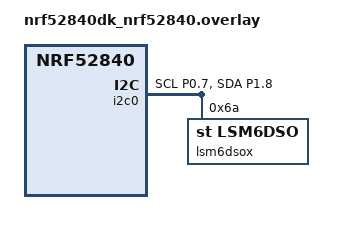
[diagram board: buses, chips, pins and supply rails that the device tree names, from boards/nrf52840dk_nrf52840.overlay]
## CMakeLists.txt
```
# SPDX-License-Identifier: Apache-2.0

cmake_minimum_required(VERSION 3.20.0)
find_package(Zephyr REQUIRED HINTS $ENV{ZEPHYR_BASE})
project(peripheral_hids_1)

FILE(GLOB app_sources src/*.c)
target_sources(app PRIVATE
  ${app_sources}
  )
```

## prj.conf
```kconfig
# Increased stack due to settings API usage
CONFIG_SYSTEM_WORKQUEUE_STACK_SIZE=2048

CONFIG_BT=y
CONFIG_LOG=y
CONFIG_BT_PERIPHERAL=y
CONFIG_BT_SMP=y
CONFIG_BT_DIS=y
CONFIG_BT_BAS=y
CONFIG_BT_DEVICE_NAME_DYNAMIC=y
CONFIG_BT_DEVICE_APPEARANCE=961

CONFIG_BT_SETTINGS=y
CONFIG_FLASH=y
CONFIG_FLASH_MAP=y
CONFIG_NVS=y
CONFIG_SETTINGS=y

CONFIG_GPIO=y

CONFIG_CLOCK_CONTROL_NRF_K32SRC_XTAL=n
CONFIG_CLOCK_CONTROL_NRF_K32SRC_RC=y

# analog input
CONFIG_ADC=y
CONFIG_ADC_NRFX_SAADC=y

CONFIG_BT_HIDS=y

CONFIG_BT_BONDABLE=y
CONFIG_BT_KEYS_OVERWRITE_OLDEST=y

# Later for UART logging
CONFIG_USE_SEGGER_RTT=y
CONFIG_LOG_BACKEND_RTT=y
CONFIG_LOG_BACKEND_UART=n
CONFIG_PRINTK=y

# Dataset capture streams ~125 VLOG lines/s over RTT. The stock buffers drop
# messages at that rate, which would silently punch holes in the dataset.
CONFIG_LOG_BUFFER_SIZE=8192
CONFIG_SEGGER_RTT_BUFFER_SIZE_UP=8192

# Nordic UART Service - live voltage stream to the nRF Connect UART console
CONFIG_BT_NUS=y

# Optional: raise the ATT MTU if you want lines longer than 20 bytes.
# CONFIG_BT_L2CAP_TX_MTU=247
# CONFIG_BT_BUF_ACL_RX_SIZE=251
# CONFIG_BT_BUF_ACL_TX_SIZE=251

CONFIG_I2C=y
CONFIG_SENSOR=y
CONFIG_LSM6DSO=y
CONFIG_LSM6DSO_TRIGGER_NONE=y
```

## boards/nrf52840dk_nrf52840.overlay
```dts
&pinctrl {
    i2c0_default: i2c0_default {
        group1 {
            psels = <NRF_PSEL(TWIM_SCL, 0, 7)>,
                    <NRF_PSEL(TWIM_SDA, 1, 8)>;
        };
    };

    i2c0_sleep: i2c0_sleep {
        group1 {
            psels = <NRF_PSEL(TWIM_SCL, 0, 7)>,
                    <NRF_PSEL(TWIM_SDA, 1, 8)>;
            low-power-enable;
        };
    };
};

&i2c0 {
    status = "okay";
    compatible = "nordic,nrf-twim";
    pinctrl-0 = <&i2c0_default>;
    pinctrl-1 = <&i2c0_sleep>;
    pinctrl-names = "default", "sleep";

    lsm6dsox: lsm6dsox@6a {
        compatible = "st,lsm6dso";
        reg = <0x6a>;
    };
};
```

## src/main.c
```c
/* main.c - Circle Rx application main entry point */

#include <zephyr/types.h>
#include <stddef.h>
#include <string.h>
#include <errno.h>
#include <stdio.h>
#include <stdbool.h>

#include <zephyr/kernel.h>
#include <zephyr/sys/printk.h>
#include <zephyr/sys/byteorder.h>
#include <zephyr/settings/settings.h>

#include <zephyr/device.h>
#include <zephyr/drivers/gpio.h>
#include <zephyr/drivers/adc.h>
#include <zephyr/drivers/sensor.h>

#include <zephyr/bluetooth/bluetooth.h>
#include <zephyr/bluetooth/hci.h>
#include <zephyr/bluetooth/conn.h>
#include <zephyr/bluetooth/uuid.h>
#include <zephyr/bluetooth/gatt.h>

#include <hal/nrf_saadc.h>

/* NCS Nordic UART Service - shows up as the UART console in nRF Connect. */
#include <bluetooth/services/nus.h>

#include "hog.h"

#define DEVICE_SIDE    1
#define DEVICE_NUMBER  1

#define DEVICE_SIDE_LEFT   0
#define DEVICE_SIDE_RIGHT  1

#define GPIO1_NODE DT_NODELABEL(gpio1)

/* LED_A / LED_B / LED_C on the Circle board (Rev 2 status sequence):
 *
 *   1. Searching for Bluetooth   yellow LED flashing, others off
 *   2. Buffer before calibration all three cycling (chase)
 *   3. Calibration in progress   all three blinking together
 *   4. Calibration complete      all three steady on
 */
#define LED_A_PIN 11  /* P1.11 */
#define LED_B_PIN 13  /* P1.13 */
#define LED_C_PIN 15  /* P1.15 */

/* Which pin carries the yellow LED, used alone for state 1. */
#define LED_YELLOW_PIN LED_A_PIN

#define SAMPLE_PERIOD_MS     8
#define LED_BLINK_PERIOD_MS  300  /* states 1 and 3 */
#define LED_CHASE_PERIOD_MS  150  /* state 2, per step - 450 ms per full cycle */

#define ADC_NODE        DT_NODELABEL(adc)
#define ADC_CHANNEL_ID  1  /* P0.03 / AIN1 = VLOG */
#define ADC_RESOLUTION  12   /* 0.88 mV/LSB, vs 3.5 mV at 10-bit */

#define IMU_NODE DT_NODELABEL(lsm6dsox)

/* SAADC scaling: gain 1/6 against the internal 0.6 V reference gives a
 * 0 .. 3.6 V input range.
 *
 * Per the nRF52840 Product Specification the conversion is
 *   RESULT = (V(P) - V(N)) * (GAIN / REFERENCE) * 2^RESOLUTION
 * so full scale maps to 2^RESOLUTION counts - the divisor is 4096, NOT 4095.
 * Identical to raw_adc_to_mv() in hog.c so both agree exactly.
 */
#define ADC_FULL_SCALE_MV 3600
#define ADC_MAX_COUNTS    (1 << ADC_RESOLUTION)

/* ---------------- Rev2 / Rev3 comparison instrumentation ----------------
 *
 * TWO capture paths, and they are NOT equivalent measurements:
 *
 *   BLE (nus_stream_sample)  battery powered, floating ground. This is the
 *                            representative condition and the primary dataset.
 *   RTT (VLOG_RTT_STREAM)    requires J-Link attached, which ties board ground
 *                            to the PC and hence to mains earth. In a
 *                            body-coupled system the body-to-earth return path
 *                            IS the signal path, so the probe changes the
 *                            measurement. Use for debugging, and for
 *                            quantifying the grounding effect by capturing
 *                            both ways - not as the sole dataset.
 *
 * RTT line format:  VLOG,<uptime_ms>,<raw_counts>
 *
 * Raw counts, not millivolts: conversion is lossy and belongs in analysis,
 * where it can use a per-board calibration factor.
 */
#define VLOG_RTT_STREAM 1


static const struct device *adc_dev = DEVICE_DT_GET(ADC_NODE);
static const struct device *gpio1_dev = DEVICE_DT_GET(GPIO1_NODE);
static const struct device *imu_dev = DEVICE_DT_GET(IMU_NODE);

int16_t adc_buffer;

bool is_right_board = false;
bool is_connected = false;

struct bt_conn *current_conn = NULL;

static char device_name[32];
static bool imu_ready = false;

static struct adc_channel_cfg channel_cfg = {
    .gain             = ADC_GAIN_1_6,
    .reference        = ADC_REF_INTERNAL,
    /* DEFAULT is 10 us, which the SAADC spec rates for a source resistance
     * up to 100 kOhm. If VLOG is not buffered by an op-amp, raise this to
     * ADC_ACQ_TIME(ADC_ACQ_TIME_MICROSECONDS, 40) -> 800 kOhm, otherwise the
     * sample-and-hold under-reads by an amount that varies with contact
     * impedance.
     */
    .acquisition_time = ADC_ACQ_TIME_DEFAULT,
    .channel_id       = ADC_CHANNEL_ID,
    .input_positive   = NRF_SAADC_INPUT_AIN1, /* P0.03 / AIN1 = VLOG */
};

static struct adc_sequence sequence = {
    .channels     = BIT(ADC_CHANNEL_ID),
    .buffer       = &adc_buffer,
    .buffer_size  = sizeof(adc_buffer),
    .resolution   = ADC_RESOLUTION,

    /* Zephyr oversampling is an EXPONENT: each sample is averaged from
     * 2^oversampling conversions. 4 -> 16x (previous), 6 -> 64x, which halves
     * random noise. At ~12 us per conversion that is ~0.8 ms per sample, well
     * inside the 8 ms period. The SAADC hardware maximum is 8 (256x); if you
     * also raise acquisition_time to 40 us, 6 costs ~2.7 ms - still fits, but
     * do not go higher without rechecking the timing budget.
     */
    .oversampling = 6,
};

static const struct bt_data ad[] = {
    BT_DATA_BYTES(BT_DATA_FLAGS, BT_LE_AD_GENERAL | BT_LE_AD_NO_BREDR),

    BT_DATA_BYTES(BT_DATA_UUID16_ALL,
        BT_UUID_16_ENCODE(BT_UUID_HIDS_VAL),
        BT_UUID_16_ENCODE(BT_UUID_BAS_VAL)),
};

/* ------------------------------------------------------------------ */
/* Nordic UART Service (BLE "UART" console in the nRF Connect app)      */
/* ------------------------------------------------------------------ */

/* True once the phone subscribes to NUS TX. Not static: hog.c uses it so the
 * touch detector also runs for a console-only (non-HID) subscriber.
 */
bool nus_ready;

/* Last detector state announced over NUS; 0xFF forces a re-send. */
uint8_t nus_last_state = 0xFFU;

static int32_t raw_adc_to_mv(int16_t raw)
{
    if (raw < 0) {
        raw = 0;
    }

    return ((int32_t)raw * ADC_FULL_SCALE_MV + (ADC_MAX_COUNTS / 2)) /
           ADC_MAX_COUNTS;
}

/* 8-byte reply to TEST. Distinct length from the 6/13/18-byte packets, which
 * is how the host tells the four packet types apart.
 *   [0..3] uint32 uptime_ms
 *   [4]    0x54 'T'
 *   [5]    side: 0 = left, 1 = right
 *   [6]    1 while the touch key is pressed
 *   [7]    detector state: 0 waiting, 1 calibrating, 2 ready
 */
#define NUS_TAG_TEST  0x54

static uint8_t detector_state_code(void)
{
    if (hog_threshold_is_locked()) {
        return 2U;
    }
    if (hog_is_collecting_calibration()) {
        return 1U;
    }
    return 0U;
}

static void nus_send_test_reply(void)
{
    if (!nus_ready || current_conn == NULL) {
        return;
    }

    uint8_t pkt[8];

    sys_put_le32((uint32_t)k_uptime_get(), &pkt[0]);
    pkt[4] = NUS_TAG_TEST;
    pkt[5] = is_right_board ? 1U : 0U;
    pkt[6] = hog_key_is_pressed() ? 1U : 0U;
    pkt[7] = detector_state_code();

    (void)bt_nus_send(current_conn, pkt, sizeof(pkt));
}

/* Commands from the host, as plain text so they can also be typed into the
 * nRF Connect app's UART console while debugging:
 *
 *   RECAL  restart calibration without dropping the HID link
 *   TEST   reply with side / key / detector state
 */
static void nus_received(struct bt_conn *conn,
                         const uint8_t *const data, uint16_t len)
{
    ARG_UNUSED(conn);

    char cmd[16];
    uint16_t n = 0;

    /* Copy out the printable prefix, upper-cased, stopping at CR/LF so a
     * terminal that appends a newline still matches.
     */
    for (uint16_t i = 0; i < len && n < (sizeof(cmd) - 1U); i++) {
        char c = (char)data[i];

        if (c == '\r' || c == '\n') {
            break;
        }
        if (c >= 'a' && c <= 'z') {
            c = (char)(c - 'a' + 'A');
        }
        cmd[n++] = c;
    }
    cmd[n] = '\0';

    if (strcmp(cmd, "RECAL") == 0) {
        printk("NUS cmd: RECAL - restarting calibration\n");

        hog_force_recalibrate();

        /* Force the main loop to re-announce, so the host sees the state
         * fall back to 0 rather than keeping the stale 2.
         */
        nus_last_state = 0xFFU;

        nus_send_test_reply();
        return;
    }

    if (strcmp(cmd, "TEST") == 0) {
        printk("NUS cmd: TEST\n");
        nus_send_test_reply();
        return;
    }

    printk("NUS rx (%u bytes), unknown command: %s\n", len, cmd);
}

static void nus_send_enabled(enum bt_nus_send_status status)
{
    nus_ready = (status == BT_NUS_SEND_STATUS_ENABLED);
    printk("NUS notifications %s\n", nus_ready ? "enabled" : "disabled");

    /* Force the loop to re-announce detector state to the new subscriber. */
    extern uint8_t nus_last_state;
    nus_last_state = 0xFFU;
}

static struct bt_nus_cb nus_cb = {
    .received     = nus_received,
    .send_enabled = nus_send_enabled,
};

/* Batched binary stream: 6 samples per notification, 18 bytes, which fits the
 * default 20-byte ATT payload with no MTU negotiation required. 125 Hz / 6 =
 * ~21 packets/s, comfortably inside what iOS grants at a 30 ms connection
 * interval - so the wireless capture runs at the FULL sample rate.
 *
 * This matters because RTT is not a neutral observer: the J-Link ties board
 * ground to the PC and therefore to mains earth, and in a body-coupled system
 * the body-to-earth return path IS the signal path. Battery-powered BLE is the
 * representative measurement condition; RTT is the perturbed one.
 *
 * Packet layout (little endian):
 *   [0..3] uint32 uptime_ms of the FIRST sample in the batch
 *   [4..5] uint16 packet sequence, wraps at 65536
 *   [6..]  6 x uint16 raw SAADC counts, spaced SAMPLE_PERIOD_MS apart
 */
#define NUS_BATCH_SAMPLES 6
#define NUS_PACKET_BYTES  (6 + 2 * NUS_BATCH_SAMPLES)

static void nus_stream_sample(int64_t now_ms, int16_t raw)
{
    static uint16_t batch[NUS_BATCH_SAMPLES];
    static uint8_t  batch_n;
    static uint32_t batch_t0;
    static uint16_t batch_seq;
    static uint32_t dropped;
    static int64_t  last_warn_ms;

    if (!nus_ready || current_conn == NULL) {
        batch_n = 0;
        return;
    }

    if (batch_n == 0) {
        batch_t0 = (uint32_t)now_ms;
    }

    batch[batch_n++] = (uint16_t)(raw < 0 ? 0 : raw);

    if (batch_n < NUS_BATCH_SAMPLES) {
        return;
    }

    uint8_t pkt[NUS_PACKET_BYTES];

    sys_put_le32(batch_t0, &pkt[0]);
    sys_put_le16(batch_seq++, &pkt[4]);
    for (uint8_t i = 0; i < NUS_BATCH_SAMPLES; i++) {
        sys_put_le16(batch[i], &pkt[6 + 2 * i]);
    }
    batch_n = 0;

    int err = bt_nus_send(current_conn, pkt, sizeof(pkt));
    if (err) {
        /* Count drops, report once a second. Printing every failure floods RTT
         * and stalls the loop, which corrupts the sample timing.
         */
        dropped++;
        if ((now_ms - last_warn_ms) >= 1000) {
            last_warn_ms = now_ms;
            printk("bt_nus_send: %u packets dropped in last 1s (err %d)\n",
                   dropped, err);
            dropped = 0;
        }
    }
}

/* Detector decisions over the same NUS stream, so a battery-powered capture
 * carries them without needing HID pairing on the host.
 *
 * 6 bytes, distinguishable from the 18-byte sample packet by length:
 *   [0..3] uint32 uptime_ms
 *   [4]    0x4B ('K')
 *   [5]    1 = key down, 0 = key up
 */
/* Detector state, so the host knows when calibration is finished instead of
 * relying on someone watching the LEDs:
 *   0 = waiting for the first rising spike
 *   1 = collecting calibration samples
 *   2 = threshold locked, detector armed
 */
#define NUS_TAG_KEY   0x4B
#define NUS_TAG_STATE 0x53

void nus_send_state(uint8_t state)
{
    if (!nus_ready || current_conn == NULL) {
        return;
    }

    /* 12 bytes. The thresholds only exist on the board, so they have to ride
     * along with the state or the host can never display them:
     *   [0..3]  uint32 uptime_ms
     *   [4]     0x53 'S'
     *   [5]     state
     *   [6..7]  int16 baseline mV      (0 until locked)
     *   [8..9]  int16 on-threshold mV
     *   [10..11] int16 off-threshold mV
     */
    uint8_t pkt[12];

    sys_put_le32((uint32_t)k_uptime_get(), &pkt[0]);
    pkt[4] = NUS_TAG_STATE;
    pkt[5] = state;
    sys_put_le16((uint16_t)(int16_t)hog_baseline_mv(), &pkt[6]);
    sys_put_le16((uint16_t)(int16_t)hog_on_threshold_mv(), &pkt[8]);
    sys_put_le16((uint16_t)(int16_t)hog_off_threshold_mv(), &pkt[10]);

    (void)bt_nus_send(current_conn, pkt, sizeof(pkt));
}

void nus_send_key_event(bool down)
{
    if (!nus_ready || current_conn == NULL) {
        return;
    }

    uint8_t pkt[6];

    sys_put_le32((uint32_t)k_uptime_get(), &pkt[0]);
    pkt[4] = NUS_TAG_KEY;
    pkt[5] = down ? 1U : 0U;

    (void)bt_nus_send(current_conn, pkt, sizeof(pkt));
}

static void build_device_name(void)
{
#if DEVICE_SIDE == DEVICE_SIDE_RIGHT
    is_right_board = true;
    snprintf(device_name, sizeof(device_name),
             "Circle Rx Right %d", DEVICE_NUMBER);
#else
    is_right_board = false;
    snprintf(device_name, sizeof(device_name),
             "Circle Rx Left %d", DEVICE_NUMBER);
#endif
}

static const uint8_t led_pins[] = { LED_A_PIN, LED_B_PIN, LED_C_PIN };

static void led_set(uint8_t pin, bool on)
{
    gpio_pin_set(gpio1_dev, pin, on ? 1 : 0);
}

/* All three together. */
static void cal_led_set(bool on)
{
    for (size_t i = 0; i < ARRAY_SIZE(led_pins); i++) {
        led_set(led_pins[i], on);
    }
}

/* Exactly one lit, the rest off - the chase in state 2. */
static void leds_chase_set(uint8_t active)
{
    for (size_t i = 0; i < ARRAY_SIZE(led_pins); i++) {
        led_set(led_pins[i], i == active);
    }
}

static int gpio_init(void)
{
    if (!device_is_ready(gpio1_dev)) {
        printk("GPIO1 not ready\n");
        return -ENODEV;
    }

    for (size_t i = 0; i < ARRAY_SIZE(led_pins); i++) {
        int err = gpio_pin_configure(gpio1_dev, led_pins[i],
                                     GPIO_OUTPUT_INACTIVE);
        if (err) {
            printk("Failed to configure LED on P1.%02u: %d\n",
                   led_pins[i], err);
            return err;
        }
    }

    cal_led_set(false);
    return 0;
}

static int adc_init(void)
{
    if (!device_is_ready(adc_dev)) {
        printk("ADC not ready\n");
        return -ENODEV;
    }

    int err = adc_channel_setup(adc_dev, &channel_cfg);
    if (err) {
        printk("adc_channel_setup failed: %d\n", err);
        return err;
    }

    /* Nordic recommends SAADC offset calibration before first use, and again
     * whenever ambient temperature moves more than 10 C. Do it once here
     * rather than on every read: calibration stalls the conversion, and at an
     * 8 ms sample period that would eat the timing budget.
     */
    struct adc_sequence cal_seq = sequence;

    cal_seq.calibrate = true;

    err = adc_read(adc_dev, &cal_seq);
    if (err) {
        /* Non-fatal on purpose: calibration only trims offset error. Losing
         * it costs a little accuracy; treating it as fatal would abort main()
         * and leave the board completely dead.
         */
        printk("SAADC offset calibration failed: %d (continuing)\n", err);
    } else {
        printk("SAADC calibrated (%u-bit, %ux oversampling)\n",
               ADC_RESOLUTION, 1U << sequence.oversampling);
    }

    return 0;
}

static int imu_init(void)
{
    if (!device_is_ready(imu_dev)) {
        printk("LSM6DSOX IMU not ready\n");
        imu_ready = false;
        return -ENODEV;
    }

    imu_ready = true;
    printk("LSM6DSOX IMU ready\n");
    return 0;
}

static void read_and_print_imu(void)
{
    if (!imu_ready) {
        return;
    }

    struct sensor_value accel[3];
    struct sensor_value gyro[3];

    int err = sensor_sample_fetch(imu_dev);
    if (err) {
        printk("IMU sample fetch failed: %d\n", err);
        return;
    }

    err = sensor_channel_get(imu_dev, SENSOR_CHAN_ACCEL_XYZ, accel);
    if (err) {
        printk("IMU accel read failed: %d\n", err);
        return;
    }

    err = sensor_channel_get(imu_dev, SENSOR_CHAN_GYRO_XYZ, gyro);
    if (err) {
        printk("IMU gyro read failed: %d\n", err);
        return;
    }

    printk("IMU_ACCEL,%d.%06d,%d.%06d,%d.%06d\n",
           accel[0].val1, accel[0].val2,
           accel[1].val1, accel[1].val2,
           accel[2].val1, accel[2].val2);

    printk("IMU_GYRO,%d.%06d,%d.%06d,%d.%06d\n",
           gyro[0].val1, gyro[0].val2,
           gyro[1].val1, gyro[1].val2,
           gyro[2].val1, gyro[2].val2);
}

static int start_advertising(void)
{
    int err = bt_le_adv_start(BT_LE_ADV_CONN_NAME,
                              ad, ARRAY_SIZE(ad),
                              NULL, 0);

    if (err) {
        printk("Advertising failed to start: %d\n", err);
        return err;
    }

    printk("Advertising started as %s\n", bt_get_name());
    return 0;
}

static void connected(struct bt_conn *conn, uint8_t err)
{
    if (err) {
        printk("Connection failed: %u\n", err);
        return;
    }

    current_conn = bt_conn_ref(conn);
    is_connected = true;

    /* Clear thresholds and filters so every session calibrates fresh. */
    hog_connected();

    bt_conn_set_security(conn, BT_SECURITY_L2);

    printk("Connected\n");
}

static void disconnected(struct bt_conn *conn, uint8_t reason)
{
    /* Before dropping current_conn: releases a held key and resets the
     * detector, so threshold_locked clears and the LEDs return to state 1.
     */
    hog_disconnected();

    if (current_conn) {
        bt_conn_unref(current_conn);
        current_conn = NULL;
    }

    is_connected = false;
    nus_ready = false;
    cal_led_set(false);

    printk("Disconnected, reason 0x%02x %s\n",
           reason, bt_hci_err_to_str(reason));
}

static void security_changed(struct bt_conn *conn,
                             bt_security_t level,
                             enum bt_security_err err)
{
    if (!err) {
        printk("Security changed: level %u\n", level);
    } else {
        printk("Security failed: level %u err %s(%d)\n",
               level, bt_security_err_to_str(err), err);
    }
}

BT_CONN_CB_DEFINE(conn_callbacks) = {
    .connected = connected,
    .disconnected = disconnected,
    .security_changed = security_changed,
};

static void bt_ready(int err)
{
    if (err) {
        printk("Bluetooth init failed: %d\n", err);
        return;
    }

    printk("Bluetooth initialized\n");

    hog_init();

    err = bt_nus_init(&nus_cb);
    if (err) {
        printk("NUS init failed: %d\n", err);
        return;
    }

    if (IS_ENABLED(CONFIG_SETTINGS)) {
        err = settings_load();
        if (err) {
            printk("Settings load failed: %d\n", err);
        }
    }

    err = bt_set_name(device_name);
    if (err) {
        printk("bt_set_name failed: %d\n", err);
        return;
    }

    start_advertising();
}

/*
 * Rev 2 status sequence. Called every loop iteration; owns all three LEDs.
 *
 *   1. !is_connected              yellow flashing, others off
 *   2. connected, not calibrating all three cycling
 *   3. collecting samples         all three blinking together
 *   4. threshold locked           all three steady on
 */
static void update_status_leds(int64_t now_ms)
{
    static int64_t last_step_ms;
    static bool    blink_on;
    static uint8_t chase_index;

    /* 4. Calibration complete - steady on, checked first so it latches. */
    if (hog_threshold_is_locked()) {
        cal_led_set(true);
        return;
    }

    /* 1. Searching for a Bluetooth connection. */
    if (!is_connected) {
        if ((now_ms - last_step_ms) >= LED_BLINK_PERIOD_MS) {
            last_step_ms = now_ms;
            blink_on = !blink_on;
        }

        led_set(LED_B_PIN, false);
        led_set(LED_C_PIN, false);
        led_set(LED_YELLOW_PIN, blink_on);

        chase_index = 0;
        return;
    }

    /* 3. Calibration in progress - all three blink together. */
    if (hog_is_collecting_calibration()) {
        if ((now_ms - last_step_ms) >= LED_BLINK_PERIOD_MS) {
            last_step_ms = now_ms;
            blink_on = !blink_on;
            cal_led_set(blink_on);
        }
        return;
    }

    /* 2. Buffer period before calibration - cycle through the three. */
    if ((now_ms - last_step_ms) >= LED_CHASE_PERIOD_MS) {
        last_step_ms = now_ms;
        leds_chase_set(chase_index);
        chase_index = (chase_index + 1) % ARRAY_SIZE(led_pins);
    }
}

int main(void)
{
    int err;

    build_device_name();

    printk("Starting %s\n", device_name);

    err = gpio_init();
    if (err) {
        return 0;
    }

    err = adc_init();
    if (err) {
        return 0;
    }

    err = imu_init();
    if (err) {
        printk("Continuing without IMU\n");
    }

    err = bt_enable(bt_ready);
    if (err) {
        printk("Bluetooth init failed immediately: %d\n", err);
        return 0;
    }

    while (1) {
        int64_t now_ms = k_uptime_get();

        if (!is_connected) {
            nus_ready = false;
            update_status_leds(now_ms);
            k_sleep(K_MSEC(SAMPLE_PERIOD_MS));
            continue;
        }

        err = adc_read(adc_dev, &sequence);
        if (!err) {
#if VLOG_RTT_STREAM
            /* One line per sample, before any filtering. */
            printk("VLOG,%u,%d\n", (uint32_t)now_ms, (int)adc_buffer);
#endif

            hog_button_loop();

            /* Independent of hog_button_loop(), which bails out unless
             * HID notifications are subscribed.
             */
            nus_stream_sample(now_ms, adc_buffer);
        } else {
            printk("ADC read failed: %d\n", err);
        }

        read_and_print_imu();

        update_status_leds(now_ms);

        /* Announce detector state transitions to the host. */
        uint8_t st = hog_threshold_is_locked() ? 2U
                   : hog_is_collecting_calibration() ? 1U : 0U;

        if (st != nus_last_state) {
            nus_last_state = st;
            nus_send_state(st);
            printk("STATE,%u,%u\n", (uint32_t)now_ms, st);
        }

        k_sleep(K_MSEC(SAMPLE_PERIOD_MS));
    }

    return 0;
}
```

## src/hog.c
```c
/** @file
 *  @brief Circle Rx manual HID-over-GATT + adaptive touch detector
 */

#include <zephyr/types.h>
#include <stddef.h>
#include <string.h>
#include <stdlib.h>
#include <stdbool.h>
#include <errno.h>

#include <zephyr/kernel.h>
#include <zephyr/sys/printk.h>

#include <zephyr/bluetooth/bluetooth.h>
#include <zephyr/bluetooth/hci.h>
#include <zephyr/bluetooth/conn.h>
#include <zephyr/bluetooth/uuid.h>
#include <zephyr/bluetooth/gatt.h>

#include "hog.h"

/*
 * ============================================================
 * External state from main.c
 * ============================================================
 */

extern bool is_right_board;
extern bool is_connected;
extern int16_t adc_buffer;
extern struct bt_conn *current_conn;
extern bool nus_ready;   /* set in main.c when the NUS console subscribes */
extern void nus_send_key_event(bool down);   /* main.c: detector event over NUS */

/*
 * ============================================================
 * HID keycodes
 * ============================================================
 *
 * USB HID keycode:
 *   A = 0x04
 *   D = 0x07
 */

#define HID_KEY_A 0x04
#define HID_KEY_D 0x07

/*
 * ============================================================
 * Final causal setup-then-lock detector constants
 * ============================================================
 *
 * Behavior:
 *
 *   1. Wait for first rising spike
 *   2. Start setup collection at that spike
 *   3. Collect 150 filtered samples
 *   4. Compute thresholds once
 *   5. Lock thresholds for the rest of the round
 *
 * This adapts to different player pairs at the start of a round,
 * but does NOT continuously adapt during a held touch.
 */

/*
 * Sample-count constants below are scaled for SAMPLE_PERIOD_MS = 8.
 * They were originally tuned at 30 ms, so each was multiplied by 30/8 = 3.75
 * to preserve the same behaviour in wall-clock time.
 */
#define SETUP_WINDOW          562  /* 562 * 8 ms = 4.5 s, was 150 * 30 ms */
#define MEDIAN_WINDOW         11   /* was 3, same filter time constant */
#define MEAN_WINDOW           11   /* was 3 */

#define ON_FRACTION_NUM       38
#define OFF_FRACTION_NUM      60
#define FRACTION_DEN          100

#define MIN_ON_OFFSET_MV      8
#define MIN_OFF_OFFSET_MV     4

#define ON_DEBOUNCE_COUNT     8    /* 8 * 8 ms = 64 ms, was 2 * 30 ms = 60 ms */
#define OFF_DEBOUNCE_COUNT    8

/*
 * First rising spike detector.
 *
 * If setup does not start reliably, lower this.
 * If setup starts from noise, raise this.
 */
/*
 * First rising spike detector.
 *
 * The delta is measured over a FIXED TIME WINDOW, not between consecutive
 * samples, so the threshold no longer depends on the sampling rate. The
 * original tuning was 8 mV between samples 30 ms apart; SPIKE_LOOKBACK_SAMPLES
 * reproduces that window at any SAMPLE_PERIOD_MS.
 *
 * Comparing adjacent samples instead would make the threshold scale inversely
 * with sample rate, which at 8 ms drove it down to ~2 mV - close enough to the
 * noise floor that setup triggered instantly on noise every time.
 *
 * If setup does not start reliably, lower START_SPIKE_DELTA_MV.
 * If setup starts from noise, raise it.
 */
#define SPIKE_LOOKBACK_SAMPLES 4   /* 4 * 8 ms = 32 ms, was 1 * 30 ms */
#define SPIKE_LOOKBACK_MS      32  /* keep = SPIKE_LOOKBACK_SAMPLES * SAMPLE_PERIOD_MS */
#define START_SPIKE_DELTA_MV   8   /* mV across that window, as originally tuned */

/*
 * Set to 1 if you want algorithm prints over RTT.
 * Keep 0 for normal use because printing every 30 ms is noisy.
 */
#define DEBUG_ALGORITHM_PRINTS 0

/*
 * ADC conversion:
 * nRF SAADC internal reference = 0.6 V
 * gain = 1/6
 * effective full scale = 3.6 V = 3600 mV
 * 10-bit ADC max count = 1023
 */

#define ADC_RESOLUTION_BITS   12
#define ADC_FULL_SCALE_MV     3600
#define ADC_MAX_COUNTS        (1 << ADC_RESOLUTION_BITS)  /* 4096, not 4095 */

/*
 * ============================================================
 * HID service state
 * ============================================================
 */

static uint8_t notifications_enabled;

static const struct bt_gatt_attr *input_report_attr;

static uint8_t empty_report[8] = {0};

enum {
	HIDS_REMOTE_WAKE = BIT(0),
	HIDS_NORMALLY_CONNECTABLE = BIT(1),
};

struct hids_info {
	uint16_t version;
	uint8_t code;
	uint8_t flags;
} __packed;

struct hids_report {
	uint8_t id;
	uint8_t type;
} __packed;

enum {
	HIDS_INPUT = 0x01,
	HIDS_OUTPUT = 0x02,
	HIDS_FEATURE = 0x03,
};

static struct hids_info info = {
	.version = 0x0111,
	.code = 0x00,
	.flags = HIDS_REMOTE_WAKE | HIDS_NORMALLY_CONNECTABLE,
};

static struct hids_report input = {
	.id = 0x01,
	.type = HIDS_INPUT,
};

static uint8_t ctrl_point;

/*
 * Keyboard HID report map.
 *
 * Report ID = 1
 * Input report payload = 8 bytes:
 *   byte 0: modifier
 *   byte 1: reserved
 *   byte 2-7: up to 6 keycodes
 */
static uint8_t report_map[] = {
	0x05, 0x01,       /* Usage Page (Generic Desktop) */
	0x09, 0x06,       /* Usage (Keyboard) */
	0xA1, 0x01,       /* Collection (Application) */
	0x85, 0x01,       /* Report ID (1) */

	0x05, 0x07,       /* Usage Page (Keyboard) */
	0x19, 0xE0,       /* Usage Minimum (Left Ctrl) */
	0x29, 0xE7,       /* Usage Maximum (Right GUI) */
	0x15, 0x00,
	0x25, 0x01,
	0x75, 0x01,
	0x95, 0x08,
	0x81, 0x02,       /* Input: modifier byte */

	0x75, 0x08,
	0x95, 0x01,
	0x81, 0x03,       /* Input: reserved byte */

	0x75, 0x08,
	0x95, 0x06,
	0x15, 0x00,
	0x25, 0x65,
	0x05, 0x07,
	0x19, 0x00,
	0x29, 0x65,
	0x81, 0x00,       /* Input: 6 keycode bytes */

	0xC0              /* End Collection */
};

/*
 * ============================================================
 * Adaptive detector state
 * ============================================================
 */

/* Causal median filter state */
static int32_t median_buf[MEDIAN_WINDOW];
static uint8_t median_count;
static uint8_t median_index;

/* Causal mean filter state */
static int32_t mean_buf[MEAN_WINDOW];
static uint8_t mean_count;
static uint8_t mean_index;
static int32_t mean_sum;

/*
 * Setup samples.
 *
 * This is temporary per round.
 * It is cleared/reset in hog_reset_detector().
 * No persistent player data is stored.
 */
static int32_t setup_samples[SETUP_WINDOW];
static uint16_t setup_count;

/* Setup/lock state */
static bool spike_detected;
static bool collecting_setup;
static bool threshold_locked;

/* Rising spike detection */
/* Ring of recent filtered values, so the spike delta spans a fixed time. */
static int32_t spike_hist_mv[SPIKE_LOOKBACK_SAMPLES];
static uint8_t spike_hist_index;
static uint8_t spike_hist_count;

/* Detector values */
static int32_t filtered_mv;
static int32_t baseline_mv;
static int32_t on_threshold_mv;
static int32_t off_threshold_mv;

/* Keyboard state machine */
static bool key_is_pressed;
static uint8_t on_counter;
static uint8_t off_counter;

/*
 * ============================================================
 * HID read/write callbacks
 * ============================================================
 */

static ssize_t read_info(struct bt_conn *conn,
			 const struct bt_gatt_attr *attr,
			 void *buf,
			 uint16_t len,
			 uint16_t offset)
{
	return bt_gatt_attr_read(conn, attr, buf, len, offset,
				 attr->user_data,
				 sizeof(struct hids_info));
}

static ssize_t read_report_map(struct bt_conn *conn,
			       const struct bt_gatt_attr *attr,
			       void *buf,
			       uint16_t len,
			       uint16_t offset)
{
	return bt_gatt_attr_read(conn, attr, buf, len, offset,
				 report_map,
				 sizeof(report_map));
}

static ssize_t read_report_ref(struct bt_conn *conn,
			       const struct bt_gatt_attr *attr,
			       void *buf,
			       uint16_t len,
			       uint16_t offset)
{
	return bt_gatt_attr_read(conn, attr, buf, len, offset,
				 attr->user_data,
				 sizeof(struct hids_report));
}

static ssize_t read_input_report(struct bt_conn *conn,
				 const struct bt_gatt_attr *attr,
				 void *buf,
				 uint16_t len,
				 uint16_t offset)
{
	return bt_gatt_attr_read(conn, attr, buf, len, offset,
				 empty_report,
				 sizeof(empty_report));
}

static ssize_t write_ctrl_point(struct bt_conn *conn,
				const struct bt_gatt_attr *attr,
				const void *buf,
				uint16_t len,
				uint16_t offset,
				uint8_t flags)
{
	uint8_t *value = attr->user_data;

	if (offset + len > sizeof(ctrl_point)) {
		return BT_GATT_ERR(BT_ATT_ERR_INVALID_OFFSET);
	}

	memcpy(value + offset, buf, len);

	return len;
}

static void input_ccc_changed(const struct bt_gatt_attr *attr, uint16_t value)
{
	ARG_UNUSED(attr);

	notifications_enabled = (value & BT_GATT_CCC_NOTIFY) != 0;

	printk("HID notifications %s\n",
	       notifications_enabled ? "enabled" : "disabled");
}

/*
 * HID Service Declaration
 */
BT_GATT_SERVICE_DEFINE(hog_svc,
	BT_GATT_PRIMARY_SERVICE(BT_UUID_HIDS),

	BT_GATT_CHARACTERISTIC(BT_UUID_HIDS_INFO,
		BT_GATT_CHRC_READ,
		BT_GATT_PERM_READ,
		read_info, NULL, &info),

	BT_GATT_CHARACTERISTIC(BT_UUID_HIDS_REPORT_MAP,
		BT_GATT_CHRC_READ,
		BT_GATT_PERM_READ,
		read_report_map, NULL, NULL),

	BT_GATT_CHARACTERISTIC(BT_UUID_HIDS_REPORT,
		BT_GATT_CHRC_READ | BT_GATT_CHRC_NOTIFY,
		BT_GATT_PERM_READ_ENCRYPT,
		read_input_report, NULL, NULL),

	BT_GATT_CCC(input_ccc_changed,
		BT_GATT_PERM_READ_ENCRYPT | BT_GATT_PERM_WRITE_ENCRYPT),

	BT_GATT_DESCRIPTOR(BT_UUID_HIDS_REPORT_REF,
		BT_GATT_PERM_READ,
		read_report_ref, NULL, &input),

	BT_GATT_CHARACTERISTIC(BT_UUID_HIDS_CTRL_POINT,
		BT_GATT_CHRC_WRITE_WITHOUT_RESP,
		BT_GATT_PERM_WRITE_ENCRYPT,
		NULL, write_ctrl_point, &ctrl_point),
);

/*
 * ============================================================
 * Utility functions
 * ============================================================
 */

static int compare_i32(const void *a, const void *b)
{
	int32_t x = *(const int32_t *)a;
	int32_t y = *(const int32_t *)b;

	return (x > y) - (x < y);
}

static int32_t raw_adc_to_mv(int16_t raw)
{
	int32_t mv;

	if (raw < 0) {
		raw = 0;
	}

	mv = ((int32_t)raw * ADC_FULL_SCALE_MV + (ADC_MAX_COUNTS / 2)) /
	     ADC_MAX_COUNTS;

	return mv;
}

static int32_t median_filter_update(int32_t value)
{
	int32_t temp[MEDIAN_WINDOW];

	median_buf[median_index] = value;
	median_index = (median_index + 1) % MEDIAN_WINDOW;

	if (median_count < MEDIAN_WINDOW) {
		median_count++;
	}

	memcpy(temp, median_buf, median_count * sizeof(int32_t));
	qsort(temp, median_count, sizeof(int32_t), compare_i32);

	return temp[median_count / 2];
}

static int32_t mean_filter_update(int32_t value)
{
	if (mean_count < MEAN_WINDOW) {
		mean_buf[mean_index] = value;
		mean_sum += value;
		mean_count++;
	} else {
		mean_sum -= mean_buf[mean_index];
		mean_buf[mean_index] = value;
		mean_sum += value;
	}

	mean_index = (mean_index + 1) % MEAN_WINDOW;

	if (mean_count == 0) {
		return value;
	}

	if (mean_sum >= 0) {
		return (mean_sum + (mean_count / 2)) / mean_count;
	}

	return (mean_sum - (mean_count / 2)) / mean_count;
}

static int32_t percentile_from_array(const int32_t *data,
				     uint16_t count,
				     uint8_t percent)
{
	/* static, not a local: SETUP_WINDOW * 4 = 2248 bytes would overflow the
	 * main thread stack. Safe because only the main thread calls this.
	 */
	static int32_t temp[SETUP_WINDOW];
	uint16_t idx;

	if (count == 0) {
		return 0;
	}

	if (count > SETUP_WINDOW) {
		count = SETUP_WINDOW;
	}

	memcpy(temp, data, count * sizeof(int32_t));
	qsort(temp, count, sizeof(int32_t), compare_i32);

	idx = ((count - 1) * percent) / 100;

	return temp[idx];
}

static void compute_and_lock_thresholds(void)
{
	int32_t recent_high_mv;
	int32_t signal_range_mv;
	int32_t on_offset_mv;
	int32_t off_offset_mv;

	baseline_mv = percentile_from_array(setup_samples, setup_count, 10);
	recent_high_mv = percentile_from_array(setup_samples, setup_count, 90);

	signal_range_mv = recent_high_mv - baseline_mv;

	if (signal_range_mv < MIN_ON_OFFSET_MV) {
		signal_range_mv = MIN_ON_OFFSET_MV;
	}

	on_offset_mv = (signal_range_mv * ON_FRACTION_NUM) / FRACTION_DEN;
	off_offset_mv = (signal_range_mv * OFF_FRACTION_NUM) / FRACTION_DEN;

	if (on_offset_mv < MIN_ON_OFFSET_MV) {
		on_offset_mv = MIN_ON_OFFSET_MV;
	}

	if (off_offset_mv < MIN_OFF_OFFSET_MV) {
		off_offset_mv = MIN_OFF_OFFSET_MV;
	}

	if (off_offset_mv >= on_offset_mv) {
		off_offset_mv = (on_offset_mv * 9) / 10;
	}

	on_threshold_mv = baseline_mv + on_offset_mv;
	off_threshold_mv = baseline_mv + off_offset_mv;

	threshold_locked = true;
	collecting_setup = false;

	printk("Thresholds locked: count=%u baseline=%d on=%d off=%d\n",
	       setup_count,
	       baseline_mv,
	       on_threshold_mv,
	       off_threshold_mv);
}

static void send_keyboard_report(uint8_t keycode, bool pressed)
{
	uint8_t report[8] = {0};

	if (!is_connected || !notifications_enabled || current_conn == NULL) {
		return;
	}

	if (pressed) {
		report[2] = keycode;
	}

	bt_gatt_notify(current_conn,
		       input_report_attr,
		       report,
		       sizeof(report));
}

/*
 * ============================================================
 * Public functions
 * ============================================================
 */

void hog_reset_detector(void)
{
	memset(median_buf, 0, sizeof(median_buf));
	median_count = 0;
	median_index = 0;

	memset(mean_buf, 0, sizeof(mean_buf));
	mean_count = 0;
	mean_index = 0;
	mean_sum = 0;

	memset(setup_samples, 0, sizeof(setup_samples));
	setup_count = 0;

	spike_detected = false;
	collecting_setup = false;
	threshold_locked = false;

	memset(spike_hist_mv, 0, sizeof(spike_hist_mv));
	spike_hist_index = 0;
	spike_hist_count = 0;

	filtered_mv = 0;
	baseline_mv = 0;
	on_threshold_mv = 0;
	off_threshold_mv = 0;

	key_is_pressed = false;
	on_counter = 0;
	off_counter = 0;
}

void hog_init(void)
{
	/*
	 * hog_svc.attrs[6] is the HID input report value attribute:
	 *
	 * 0 primary service
	 * 1 characteristic declaration - info
	 * 2 characteristic value       - info
	 * 3 characteristic declaration - report map
	 * 4 characteristic value       - report map
	 * 5 characteristic declaration - input report
	 * 6 characteristic value       - input report
	 */
	input_report_attr = &hog_svc.attrs[6];

	notifications_enabled = 0;

	hog_reset_detector();
}

void hog_connected(void)
{
	notifications_enabled = 0;
	hog_reset_detector();
}

void hog_disconnected(void)
{
	if (key_is_pressed) {
		uint8_t keycode = is_right_board ? HID_KEY_D : HID_KEY_A;

		send_keyboard_report(keycode, false);
	}

	notifications_enabled = 0;
	hog_reset_detector();
}

void hog_force_recalibrate(void)
{
	/* Release a held key first. Resetting the detector alone would clear
	 * key_is_pressed without telling the host, leaving the game device
	 * with a key stuck down forever.
	 */
	if (key_is_pressed) {
		uint8_t keycode = is_right_board ? HID_KEY_D : HID_KEY_A;

		send_keyboard_report(keycode, false);
		nus_send_key_event(false);
	}

	/* Note: notifications_enabled is deliberately NOT cleared. The HID
	 * link to the game device stays up; only the detector restarts.
	 */
	hog_reset_detector();
}

bool hog_key_is_pressed(void)
{
	return key_is_pressed;
}

void hog_button_loop(void)
{
	int32_t voltage_mv;
	int32_t median_filtered_mv;
	int32_t delta_mv;
	uint8_t keycode;

	/*
	 * Run the detector when the host has subscribed to EITHER the HID
	 * input report or the NUS console. The console-only case lets the
	 * calibration sequence run while debugging from nRF Connect, where
	 * the phone is not acting as a keyboard.
	 *
	 * send_keyboard_report() still gates on notifications_enabled, so no
	 * HID traffic is generated for a console-only subscriber.
	 */
	if (!is_connected || current_conn == NULL) {
		return;
	}

	if (!notifications_enabled && !nus_ready) {
		return;
	}

	/*
	 * Convert raw SAADC counts to millivolts so the firmware matches
	 * the algorithm constants.
	 */
	voltage_mv = raw_adc_to_mv(adc_buffer);

	/*
	 * Causal filtering:
	 * raw voltage -> rolling median(3) -> rolling mean(3)
	 */
	median_filtered_mv = median_filter_update(voltage_mv);
	filtered_mv = mean_filter_update(median_filtered_mv);

	keycode = is_right_board ? HID_KEY_D : HID_KEY_A;

	/*
	 * ============================================================
	 * SETUP / CALIBRATION WAITING PHASE
	 * ============================================================
	 *
	 * Wait until the first rising spike.
	 * The first collected setup sample is the spike sample itself.
	 */
	if (!threshold_locked) {
		if (!collecting_setup) {
			/* Fill the lookback ring before any comparison is valid. */
			if (spike_hist_count < SPIKE_LOOKBACK_SAMPLES) {
				spike_hist_mv[spike_hist_index] = filtered_mv;
				spike_hist_index = (spike_hist_index + 1) %
						   SPIKE_LOOKBACK_SAMPLES;
				spike_hist_count++;

#if DEBUG_ALGORITHM_PRINTS
				printk("Waiting for first spike: filt=%d\n", filtered_mv);
#endif
				return;
			}

			/* Oldest sample sits at the write index. */
			delta_mv = filtered_mv - spike_hist_mv[spike_hist_index];

			if (delta_mv >= START_SPIKE_DELTA_MV) {
				spike_detected = true;
				collecting_setup = true;
				setup_count = 0;

				setup_samples[setup_count++] = filtered_mv;

				printk("First rising spike detected: was=%d now=%d delta=%d over %u ms\n",
				       spike_hist_mv[spike_hist_index],
				       filtered_mv,
				       delta_mv,
				       SPIKE_LOOKBACK_MS);
			}

			/* Overwrite the oldest entry and advance. */
			spike_hist_mv[spike_hist_index] = filtered_mv;
			spike_hist_index = (spike_hist_index + 1) %
					   SPIKE_LOOKBACK_SAMPLES;

			return;
		}

		/*
		 * Collect setup samples after the first rising spike.
		 * Thresholds are computed once after SETUP_WINDOW samples.
		 */
		if (setup_count < SETUP_WINDOW) {
			setup_samples[setup_count++] = filtered_mv;
		}

#if DEBUG_ALGORITHM_PRINTS
		printk("Setup collecting: %u/%u filt=%d\n",
		       setup_count,
		       SETUP_WINDOW,
		       filtered_mv);
#endif

		if (setup_count >= SETUP_WINDOW) {
			compute_and_lock_thresholds();
		}

		return;
	}

	/*
	 * ============================================================
	 * GAMEPLAY PHASE
	 * ============================================================
	 *
	 * Thresholds are locked.
	 * Do NOT update thresholds here.
	 *
	 * If signal stays above ON threshold, the key remains held forever.
	 * Key is released only when signal falls below OFF threshold.
	 */

#if DEBUG_ALGORITHM_PRINTS
	printk("mv=%d filt=%d base=%d on=%d off=%d state=%d\n",
	       voltage_mv,
	       filtered_mv,
	       baseline_mv,
	       on_threshold_mv,
	       off_threshold_mv,
	       key_is_pressed ? 1 : 0);
#endif

	if (!key_is_pressed) {
		if (filtered_mv >= on_threshold_mv) {
			on_counter++;
		} else {
			on_counter = 0;
		}

		off_counter = 0;

		if (on_counter >= ON_DEBOUNCE_COUNT) {
			key_is_pressed = true;
			on_counter = 0;
			off_counter = 0;

			send_keyboard_report(keycode, true);

			/* Machine-readable, same clock as the VLOG stream, so
			 * detections and signal share one time axis.
			 */
			nus_send_key_event(true);
			printk("KEY,%u,1\n", (uint32_t)k_uptime_get());
			printk("KEY DOWN: %s\n", is_right_board ? "D" : "A");
		}
	} else {
		if (filtered_mv <= off_threshold_mv) {
			off_counter++;
		} else {
			off_counter = 0;
		}

		on_counter = 0;

		if (off_counter >= OFF_DEBOUNCE_COUNT) {
			key_is_pressed = false;
			on_counter = 0;
			off_counter = 0;

			send_keyboard_report(keycode, false);

			nus_send_key_event(false);
			printk("KEY,%u,0\n", (uint32_t)k_uptime_get());
			printk("KEY UP: %s\n", is_right_board ? "D" : "A");
		}
	}
}

bool hog_is_waiting_for_rising_edge(void)
{
	return is_connected &&
	       current_conn != NULL &&
	       !threshold_locked &&
	       !collecting_setup;
}

bool hog_is_collecting_calibration(void)
{
	return is_connected &&
	       current_conn != NULL &&
	       !threshold_locked &&
	       collecting_setup;
}

bool hog_threshold_is_locked(void)
{
	return threshold_locked;
}

int32_t hog_baseline_mv(void)
{
	return baseline_mv;
}

int32_t hog_on_threshold_mv(void)
{
	return on_threshold_mv;
}

int32_t hog_off_threshold_mv(void)
{
	return off_threshold_mv;
}
```

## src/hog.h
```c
/** @file
 *  @brief HoG Service sample
 */

/*
 * Copyright (c) 2016 Intel Corporation
 *
 * SPDX-License-Identifier: Apache-2.0
 */

#include <stdbool.h>
#include <stdint.h>

#ifdef __cplusplus
extern "C" {
#endif

void hog_init(void);

void hog_button_loop(void);

void hog_reset_detector(void);

void hog_connected(void);
void hog_disconnected(void);

bool hog_is_waiting_for_rising_edge(void);
bool hog_is_collecting_calibration(void);
bool hog_threshold_is_locked(void);

/* Calibrated values, valid once hog_threshold_is_locked() is true. */
int32_t hog_baseline_mv(void);
int32_t hog_on_threshold_mv(void);
int32_t hog_off_threshold_mv(void);

#ifdef __cplusplus
}
#endif
```
